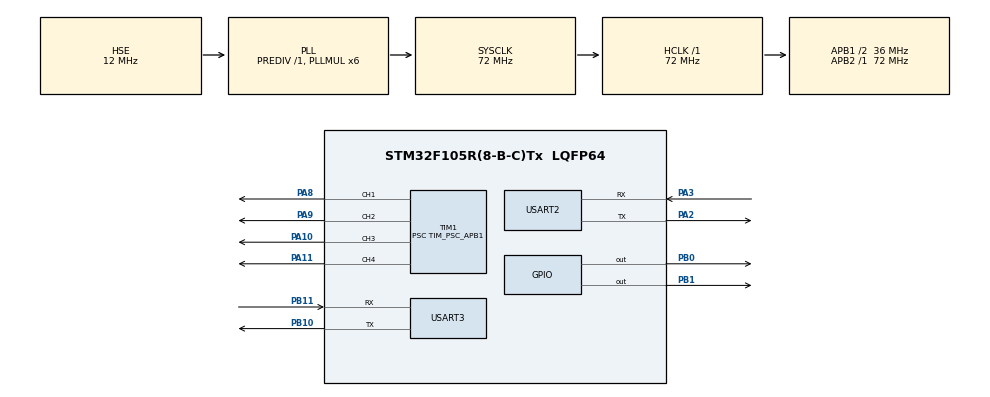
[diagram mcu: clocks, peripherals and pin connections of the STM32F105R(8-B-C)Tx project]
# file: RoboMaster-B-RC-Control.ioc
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Mcu.Family=STM32F1
Mcu.Name=STM32F105R(8-B-C)Tx
Mcu.Package=LQFP64
Mcu.UserConstants=PWM_FREQUENCE,50;APB2_TIMER_CLOCK,72000000;APB1_TIMER_CLOCK,72000000;PWM_DEFAULT_DUTY,2000;TIM_PSC_APB1,72;PWM_RESOLUTION,20000;TIM_PSC_APB2,72
NVIC.PriorityGroup=NVIC_PRIORITYGROUP_4
NVIC.USART2_IRQn=true\:0\:0\:false\:false\:true\:true\:true\:true
NVIC.USART3_IRQn=true\:0\:0\:false\:false\:true\:true\:true\:true
PA10.Signal=S_TIM1_CH3
PA11.Signal=S_TIM1_CH4
PA2.Mode=Asynchronous
PA2.Signal=USART2_TX
PA3.Mode=Asynchronous
PA3.Signal=USART2_RX
PA8.Signal=S_TIM1_CH1
PA9.Signal=S_TIM1_CH2
PB0.Signal=GPIO_Output
PB1.Signal=GPIO_Output
PB10.Mode=Asynchronous
PB10.Signal=USART3_TX
PB11.Mode=Asynchronous
PB11.Signal=USART3_RX
PD0-OSC_IN.Mode=HSE-External-Oscillator
PD0-OSC_IN.Signal=RCC_OSC_IN
PD1-OSC_OUT.Mode=HSE-External-Oscillator
PD1-OSC_OUT.Signal=RCC_OSC_OUT
ProjectManager.HeapSize=0x200
ProjectManager.StackSize=0x400
ProjectManager.TargetToolchain=MDK-ARM V5.32
RCC.AHBFreq_Value=72000000
RCC.APB1CLKDivider=RCC_HCLK_DIV2
RCC.APB1Freq_Value=36000000
RCC.APB1TimFreq_Value=72000000
RCC.APB2Freq_Value=72000000
RCC.APB2TimFreq_Value=72000000
RCC.HCLKFreq_Value=72000000
RCC.HSE_VALUE=12000000
RCC.PLLMUL=RCC_PLL_MUL6
RCC.PLLSourceVirtual=RCC_PLLSOURCE_HSE
RCC.SYSCLKFreq_VALUE=72000000
RCC.SYSCLKSource=RCC_SYSCLKSOURCE_PLLCLK
RCC.USBFreq_Value=48000000
SH.S_TIM1_CH1.0=TIM1_CH1,PWM Generation1 CH1
SH.S_TIM1_CH2.0=TIM1_CH2,PWM Generation2 CH2
SH.S_TIM1_CH3.0=TIM1_CH3,PWM Generation3 CH3
SH.S_TIM1_CH4.0=TIM1_CH4,PWM Generation4 CH4
TIM1.Channel-PWM\ Generation1\ CH1=TIM_CHANNEL_1
TIM1.Channel-PWM\ Generation2\ CH2=TIM_CHANNEL_2
TIM1.Channel-PWM\ Generation3\ CH3=TIM_CHANNEL_3
TIM1.Channel-PWM\ Generation4\ CH4=TIM_CHANNEL_4
TIM1.Period=PWM_RESOLUTION-1
TIM1.Prescaler=TIM_PSC_APB1
TIM1.Pulse-PWM\ Generation1\ CH1=PWM_DEFAULT_DUTY
TIM1.Pulse-PWM\ Generation2\ CH2=PWM_DEFAULT_DUTY
TIM1.Pulse-PWM\ Generation3\ CH3=PWM_DEFAULT_DUTY
TIM1.Pulse-PWM\ Generation4\ CH4=PWM_DEFAULT_DUTY
USART2.VirtualMode=VM_ASYNC
USART3.VirtualMode=VM_ASYNC
VP_SYS_VS_ND.Mode=No_Debug
board=custom

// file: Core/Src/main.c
/* USER CODE BEGIN Header */
/**
  ******************************************************************************
  * @file           : main.c
  * @brief          : Main program body
  ******************************************************************************
  * @attention
  *
  * Copyright (c) 2022 STMicroelectronics.
  * All rights reserved.
  *
  * This software is licensed under terms that can be found in the LICENSE file
  * in the root directory of this software component.
  * If no LICENSE file comes with this software, it is provided AS-IS.
  *
  ******************************************************************************
  */
/* USER CODE END Header */
#include "main.h"
#include "tim.h"
#include "usart.h"
#include "gpio.h"

/* USER CODE BEGIN PTD */
int current_buffer_length_uart2 = 0;
uint8_t single_buffer_uart2 = 0xFF;
uint8_t read_buffer_uart2[BUFFER_LENGTH + 1];

int current_buffer_length_uart3 = 0;
uint8_t single_buffer_uart3 = 0xFF;
uint8_t read_buffer_uart3[BUFFER_LENGTH + 1];

const int mid_point = 1500;
int32_t steer = 0;
int32_t speed = 0;
int32_t timeout_count = 0;
/* USER CODE END PTD */

void SystemClock_Config(void);

int main(void)
{

  /* MCU Configuration--------------------------------------------------------*/

  /* Reset of all peripherals, Initializes the Flash interface and the Systick. */
  HAL_Init();

  /* Configure the system clock */
  SystemClock_Config();

  /* Initialize all configured peripherals */
  MX_GPIO_Init();
  MX_TIM1_Init();
  MX_USART2_UART_Init();
  MX_USART3_UART_Init();
  /* USER CODE BEGIN 2 */
	HAL_TIM_Base_Start(&htim1);
	HAL_TIM_PWM_Start(&htim1, TIM_CHANNEL_1);
	HAL_TIM_PWM_Start(&htim1, TIM_CHANNEL_2);
	HAL_TIM_PWM_Start(&htim1, TIM_CHANNEL_3);
	HAL_TIM_PWM_Start(&htim1, TIM_CHANNEL_4);

	HAL_UART_Receive_IT(&huart2, &single_buffer_uart2, 1);
	HAL_UART_Receive_IT(&huart3, &single_buffer_uart3, 1);

	//__HAL_UART_ENABLE_IT(&huart2, UART_IT_RXNE);  // receive interrupt
  __HAL_UART_ENABLE_IT(&huart2, UART_IT_IDLE);  // idle interrupt
  //__HAL_UART_ENABLE_IT(&huart3, UART_IT_RXNE);  // receive interrupt
  __HAL_UART_ENABLE_IT(&huart3, UART_IT_IDLE);  // idle interrupt

	HAL_GPIO_WritePin(GPIOB, GPIO_PIN_0, GPIO_PIN_SET);
	HAL_GPIO_WritePin(GPIOB, GPIO_PIN_1, GPIO_PIN_SET);
  /* USER CODE END 2 */

  /* Infinite loop */
  while (1)
  {

    /* USER CODE BEGIN 3 */
		__HAL_TIM_SetCompare(&htim1, TIM_CHANNEL_1, mid_point + steer);
		__HAL_TIM_SetCompare(&htim1, TIM_CHANNEL_2, mid_point + speed);
		//__HAL_TIM_SetCompare(&htim1, TIM_CHANNEL_3, mid_point);
		//__HAL_TIM_SetCompare(&htim1, TIM_CHANNEL_4, mid_point);
		timeout_count++;
		if(timeout_count > TIMEOUT) {
			steer = 0;
			speed = 0;
		}
		HAL_Delay(10);
  }
  /* USER CODE END 3 */
}

void SystemClock_Config(void)
{
  RCC_OscInitTypeDef RCC_OscInitStruct = {0};
  RCC_ClkInitTypeDef RCC_ClkInitStruct = {0};

  /** Initializes the RCC Oscillators according to the specified parameters
  * in the RCC_OscInitTypeDef structure.
  */
  RCC_OscInitStruct.OscillatorType = RCC_OSCILLATORTYPE_HSE;
  RCC_OscInitStruct.HSEState = RCC_HSE_ON;
  RCC_OscInitStruct.HSEPredivValue = RCC_HSE_PREDIV_DIV1;
  RCC_OscInitStruct.HSIState = RCC_HSI_ON;
  RCC_OscInitStruct.Prediv1Source = RCC_PREDIV1_SOURCE_HSE;
  RCC_OscInitStruct.PLL.PLLState = RCC_PLL_ON;
  RCC_OscInitStruct.PLL.PLLSource = RCC_PLLSOURCE_HSE;
  RCC_OscInitStruct.PLL.PLLMUL = RCC_PLL_MUL6;
  RCC_OscInitStruct.PLL2.PLL2State = RCC_PLL_NONE;
  if (HAL_RCC_OscConfig(&RCC_OscInitStruct) != HAL_OK)
  {
    Error_Handler();
  }

  /** Initializes the CPU, AHB and APB buses clocks
  */
  RCC_ClkInitStruct.ClockType = RCC_CLOCKTYPE_HCLK|RCC_CLOCKTYPE_SYSCLK
                              |RCC_CLOCKTYPE_PCLK1|RCC_CLOCKTYPE_PCLK2;
  RCC_ClkInitStruct.SYSCLKSource = RCC_SYSCLKSOURCE_PLLCLK;
  RCC_ClkInitStruct.AHBCLKDivider = RCC_SYSCLK_DIV1;
  RCC_ClkInitStruct.APB1CLKDivider = RCC_HCLK_DIV2;
  RCC_ClkInitStruct.APB2CLKDivider = RCC_HCLK_DIV1;

  if (HAL_RCC_ClockConfig(&RCC_ClkInitStruct, FLASH_LATENCY_2) != HAL_OK)
  {
    Error_Handler();
  }

  /** Configure the Systick interrupt time
  */
  __HAL_RCC_PLLI2S_ENABLE();
}

void Error_Handler(void)
{
  __disable_irq();
  while (1)
  {
  }
}
